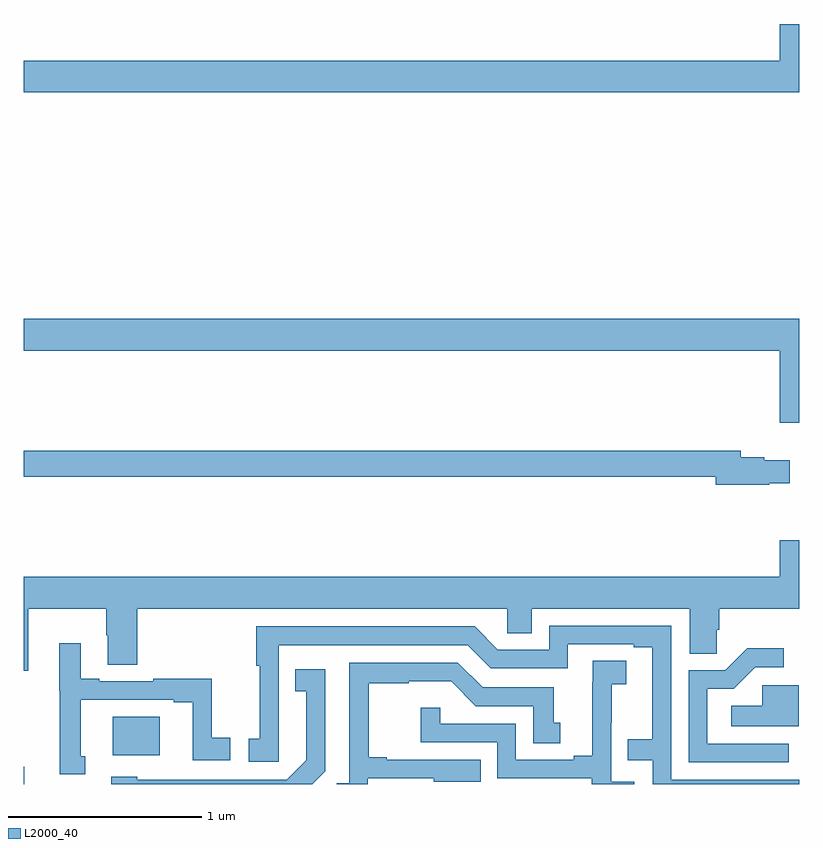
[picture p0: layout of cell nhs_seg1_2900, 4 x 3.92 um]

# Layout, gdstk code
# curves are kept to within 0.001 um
import gdstk
lib = gdstk.Library(unit=1e-6, precision=1e-09)
def R(c, l, rs):  # rectangles x0, y0, x1, y1
    for r in rs: c.add(gdstk.rectangle(r[:2], r[2:], *l))
def P(c, l, *ps):  # polygons
    for p in ps: c.add(gdstk.Polygon(p, *l))
L2000_40 = (2000, 40)

nhs_seg1_2900 = lib.new_cell('nhs_seg1_2900')
R(nhs_seg1_2900, L2000_40, [(269,512.199,269.001,512.287), (269.459,512.348,269.701,512.545)])
P(nhs_seg1_2900, L2000_40, [(273,516.121),(272.9,516.121),(272.9,515.932),(269,515.932),(269,515.768),(273,515.768)],
  [(273,514.6),(269,514.6),(269,514.436),(272.9,514.436),(272.9,514.062),(273,514.062)],
  [(272.846,513.751),(272.951,513.751),(272.951,513.871),(272.82,513.871),(272.82,513.884),(272.698,513.884),(272.698,513.92),(269,513.92),(269,513.784),(272.57,513.784),(272.57,513.742),(272.846,513.742)],
  [(269.023,513.104),(269.425,513.104),(269.425,512.966),(269.432,512.966),(269.432,512.815),(269.585,512.815),(269.585,513.104),(271.494,513.104),(271.494,512.977),(271.621,512.977),(271.621,513.104),(272.435,513.104),(272.435,512.872),(272.574,512.872),(272.574,512.995),(272.588,512.995),(272.588,513.104),(273,513.104),(273,513.457),(272.9,513.457),(272.9,513.268),(269,513.268),(269,512.784),(269.023,512.784)],
  [(273,512.22),(272.34,512.22),(272.34,513.015),(271.71,513.015),(271.71,512.892),(271.446,512.892),(271.326,513.012),(270.199,513.012),(270.199,512.809),(270.217,512.809),(270.217,512.433),(270.159,512.433),(270.159,512.313),(270.316,512.313),(270.315,512.916),(271.29,512.916),(271.41,512.796),(271.806,512.796),(271.806,512.919),(272.147,512.919),(272.147,512.904),(272.243,512.904),(272.243,512.431),(272.116,512.431),(272.116,512.322),(272.244,512.322),(272.244,512.199),(273,512.199)],
  [(269.317,512.343),(269.293,512.343),(269.293,512.634),(269.774,512.634),(269.774,512.621),(269.87,512.621),(269.87,512.322),(270.064,512.322),(270.064,512.438),(269.97,512.438),(269.97,512.743),(269.668,512.743),(269.668,512.73),(269.389,512.73),(269.389,512.743),(269.293,512.743),(269.293,512.926),(269.183,512.926),(269.183,512.681),(269.184,512.681),(269.184,512.249),(269.317,512.249)],
  [(272.947,512.406),(272.526,512.406),(272.526,512.691),(272.664,512.691),(272.775,512.802),(272.92,512.802),(272.92,512.9),(272.732,512.9),(272.619,512.787),(272.43,512.787),(272.43,512.31),(272.947,512.31)],
  [(272.149,512.211),(272.031,512.211),(272.031,512.515),(272.033,512.515),(272.033,512.713),(272.107,512.713),(272.107,512.834),(271.936,512.834),(271.936,512.723),(271.934,512.723),(271.934,512.345),(271.838,512.345),(271.838,512.325),(271.539,512.325),(271.539,512.511),(271.149,512.511),(271.149,512.593),(271.048,512.593),(271.048,512.415),(271.443,512.415),(271.443,512.229),(271.93,512.229),(271.93,512.199),(272.149,512.199)],
  [(270.774,512.229),(271.115,512.229),(271.115,512.21),(271.358,512.21),(271.358,512.325),(270.871,512.325),(270.871,512.338),(270.779,512.338),(270.779,512.718),(270.986,512.718),(270.986,512.729),(271.204,512.729),(271.332,512.601),(271.628,512.601),(271.628,512.41),(271.768,512.41),(271.768,512.514),(271.735,512.514),(271.735,512.697),(271.368,512.697),(271.239,512.826),(270.678,512.826),(270.678,512.203),(270.613,512.203),(270.613,512.199),(270.774,512.199)],
  [(270.555,512.266),(270.555,512.791),(270.4,512.791),(270.4,512.678),(270.458,512.678),(270.458,512.321),(270.357,512.22),(269.586,512.22),(269.586,512.236),(269.45,512.236),(269.45,512.199),(270.488,512.199)],
  [(272.998,512.709),(272.811,512.709),(272.811,512.602),(272.649,512.602),(272.649,512.498),(272.998,512.498)])

lib.write_gds('nhs_seg1_2900.gds')
